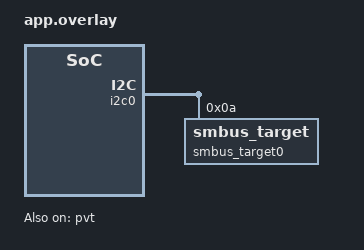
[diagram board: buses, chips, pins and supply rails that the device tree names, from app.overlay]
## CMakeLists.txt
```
# SPDX-License-Identifier: Apache-2.0

cmake_minimum_required(VERSION 3.20.0)
find_package(Zephyr REQUIRED HINTS $ENV{ZEPHYR_BASE})
project(bh_arc)


if(CONFIG_DEVICE_TEST)
    FILE(GLOB app_sources src/vf_curve.c)
else()
    FILE(GLOB app_sources src/*.c)
    list(FILTER app_sources EXCLUDE REGEX "src/vf_curve.c")
endif()
target_sources(app PRIVATE ${app_sources})
target_link_libraries(app PRIVATE bh_fwtable)
target_include_directories(app PRIVATE ../../../../include)
target_include_directories(app PRIVATE ../../../../lib/tenstorrent/bh_arc)
```

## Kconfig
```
# Copyright (c) 2025 Tenstorrent AI ULC
# SPDX-License-Identifier: Apache-2.0

config DEVICE_TEST
	bool "Enable device test"
	default n
	help
	  Enable this option to build the device test application.

source "Kconfig.zephyr"
```

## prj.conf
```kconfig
CONFIG_ZTEST=y

CONFIG_TT_BH_ARC=y
CONFIG_TT_BOOT_FS=y
CONFIG_NANOPB=y

CONFIG_EMUL=y
CONFIG_I2C_EMUL=y
CONFIG_I2C_TARGET=y
CONFIG_SMBUS_TARGET=y
CONFIG_I2C=y
CONFIG_CLOCK_CONTROL=y
CONFIG_CLOCK_CONTROL_EMUL=y

CONFIG_SENSOR=y
CONFIG_SENSOR_ASYNC_API=y

CONFIG_WATCHDOG=y
CONFIG_WDT_TT_BH=y

# Debug configuration
CONFIG_DEBUG=y
CONFIG_DEBUG_OPTIMIZATIONS=y
CONFIG_NO_OPTIMIZATIONS=y
CONFIG_LOG=y
CONFIG_LOG_DEFAULT_LEVEL=4
```

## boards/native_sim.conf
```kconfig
CONFIG_EMUL=y
CONFIG_I2C_EMUL=y
CONFIG_I2C_TARGET=y
```

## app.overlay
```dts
/ {
	fwtable: fwtable {
		compatible = "tenstorrent,bh-fwtable";
		status = "okay";
		flash-dev = <&flashcontroller0>;
	};

	pll0: pll0
	{
		compatible = "tenstorrent,clock-control-emul";
		status = "okay";
	};

	pll4: pll4
	{
		compatible = "tenstorrent,clock-control-emul";
		status = "okay";
	};

	dma1: noc_dma {
		status = "okay";
	};

	pvt: pvt@80030700 {
		compatible = "tenstorrent,bh-pvt";
		reg = <0x80030700 0x4>;
		num_pd = <16>;
		num_vm = <8>;
		num_ts = <8>;
		status = "okay";
	};
};

&i2c0 {
	smbus_target0: smbus@0a {
		status = "okay";
		compatible = "zephyr,smbus_target";
		reg = <0x0a>;
	};
};
```

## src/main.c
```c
/*
 * Copyright (c) 2025 Tenstorrent AI ULC
 *
 * SPDX-License-Identifier: Apache-2.0
 */

#include <zephyr/ztest.h>
#include <math.h>

/*
 * FIXME: need to separate platform-layer (arch) code, kernel-layer (driver) code,
 * and application-layer (library/telemetry) code in bh_arc lib, i.e. separate
 * the information processing from the hardware specifics.
 */
#include "../../../../../lib/tenstorrent/bh_arc/fan_ctrl.c"

extern uint32_t fan_curve(float max_asic_temp, float max_gddr_temp);

ZTEST(bh_arc, test_fan_curve)
{
	/* Test each GDDR temp fan curve step */
	zassert_equal(fan_curve(25, 25), 35);
	zassert_equal(fan_curve(25, 42), 35);
	zassert_equal(fan_curve(25, 46), 40);
	zassert_equal(fan_curve(25, 52), 45);
	zassert_equal(fan_curve(25, 59), 50);
	zassert_equal(fan_curve(25, 64), 55);
	zassert_equal(fan_curve(25, 68), 60);
	zassert_equal(fan_curve(25, 71), 65);
	zassert_equal(fan_curve(25, 74), 70);
	zassert_equal(fan_curve(25, 77), 90);
	zassert_equal(fan_curve(25, 80), 100);

	/* Test each ASIC temp fan curve step */
	zassert_equal(fan_curve(25, 25), 35);
	zassert_equal(fan_curve(46, 25), 35);
	zassert_equal(fan_curve(52, 25), 40);
	zassert_equal(fan_curve(56, 25), 45);
	zassert_equal(fan_curve(60, 25), 50);
	zassert_equal(fan_curve(65, 25), 55);
	zassert_equal(fan_curve(70, 25), 60);
	zassert_equal(fan_curve(74, 25), 65);
	zassert_equal(fan_curve(80, 25), 70);
	zassert_equal(fan_curve(85, 25), 90);
	zassert_equal(fan_curve(92, 25), 100);

	/* Test boundary conditions */
	static const float temps[] = {
		-INFINITY, /* negative-most condition */
		-35,       /* darn cold */
		-1,        /* on the boundary */
		0,         /* inflection point */
		1,         /* on the boundary */
		23,        /* ~room temp */
		50,        /* pretty warm */
		100,       /* hot! */
		300,       /* on fire */
		INFINITY,  /* positive-most condition */
	};

	for (size_t i = 0; i < ARRAY_SIZE(temps); ++i) {
		for (size_t j = 0; j < ARRAY_SIZE(temps); ++j) {
			uint32_t pct = fan_curve(temps[i], temps[j]);

			zassert_true(pct >= 0, "unexpected pct %u for fan_curve(%f, %f)");
			zassert_true(pct <= 100, "unexpected pct %u for fan_curve(%f, %f)");
		}
	}
}

ZTEST_SUITE(bh_arc, NULL, NULL, NULL, NULL, NULL);
```

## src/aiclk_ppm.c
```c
/*
 * Copyright (c) 2025 Tenstorrent AI ULC
 *
 * SPDX-License-Identifier: Apache-2.0
 */

#include <zephyr/ztest.h>

#include "aiclk_ppm.h"
#include <tenstorrent/msgqueue.h>
#include <tenstorrent/smc_msg.h>
static uint32_t fmax;
static uint32_t fmin;

static void *aiclk_ppm_setup(void)
{
	fmax = GetAiclkFmax();
	fmin = GetAiclkFmin();

	zassert_not_equal(fmin, fmax, "Fmin and Fmax values should not be equal");

	return NULL;
}

static void reset_arb(void *fixture)
{
	(void)fixture;

	/* Reset all arbiter values and disable */
	for (int i = 0; i < aiclk_arb_max_count; i++) {
		SetAiclkArbMax(i, fmax);
		EnableArbMax(i, false);
	}
	for (int i = 0; i < aiclk_arb_min_count; i++) {
		SetAiclkArbMin(i, fmin);
		EnableArbMin(i, false);
	}
}

static void set_busy(bool busy)
{
	union request req = {0};
	struct response rsp = {0};

	req.aiclk_set_speed.command_code =
		busy ? TT_SMC_MSG_AICLK_GO_BUSY : TT_SMC_MSG_AICLK_GO_LONG_IDLE;
	msgqueue_request_push(0, &req);
	process_message_queues();
	msgqueue_response_pop(0, &rsp);
	zexpect_equal(rsp.data[0], 0);
}

static void reinit_arb(void *fixture)
{
	(void)fixture;
	for (int i = 0; i < aiclk_arb_max_count; i++) {
		SetAiclkArbMax(i, fmax);
		EnableArbMax(i, true);
	}
	for (int i = 0; i < aiclk_arb_min_count; i++) {
		SetAiclkArbMin(i, fmin);
		EnableArbMin(i, true);
	}

	set_busy(false);
}

ZTEST(aiclk_ppm, test_no_arb_enabled)
{
	uint32_t targ_freq;

	CalculateTargAiclk();
	targ_freq = GetAiclkTarg();

	zassert_equal(
		targ_freq, fmin,
		"Target frequency (%d) should be equal to Fmin (%d) when no arbiters are enabled",
		targ_freq, fmin);
}

ZTEST(aiclk_ppm, test_arb_min_disable_enable)
{
	uint32_t mod_fmin = fmin + 100;
	uint32_t targ_freq;

	/* Increase fmin arbiter */
	/* This should limit target aiclk to modified fmin when arbiter is enabled */
	SetAiclkArbMin(aiclk_arb_min_fmin, mod_fmin);

	EnableArbMin(aiclk_arb_min_fmin, false);

	CalculateTargAiclk();
	targ_freq = GetAiclkTarg();

	zexpect_equal(targ_freq, fmin,
		      "Target frequency (%d) should be equal to Fmin (%d) when "
		      "Fmin arbiter is disabled",
		      targ_freq, fmin);

	EnableArbMin(aiclk_arb_min_fmin, true);

	CalculateTargAiclk();
	targ_freq = GetAiclkTarg();

	zassert_equal(targ_freq, mod_fmin,
		      "Target frequency (%d) should be equal to modified Fmin (%d) when "
		      "arbiter enabled",
		      targ_freq, mod_fmin);
}

ZTEST(aiclk_ppm, test_arb_max_disable_enable)
{
	uint32_t mod_fmax = (fmin + fmax) / 2;
	uint32_t targ_freq;

	/* Set busy arbiter (aiclk_arb_min_busy = fmax [1400]) */
	/* Set fmax arbiter to value in between fmin and fmax [800] */
	/* This should limit target aiclk to modified fmax when both arbiters are enabled */
	set_busy(true);
	SetAiclkArbMax(aiclk_arb_max_fmax, mod_fmax);

	EnableArbMin(aiclk_arb_min_busy, false);
	EnableArbMax(aiclk_arb_max_fmax, false);

	CalculateTargAiclk();
	targ_freq = GetAiclkTarg();

	zexpect_equal(targ_freq, fmin,
		      "Target frequency (%d) should be equal to Fmin (%d) when "
		      "Fmax arbiter and Busy arbiter is disabled",
		      targ_freq, fmin);

	EnableArbMin(aiclk_arb_min_busy, true);
	EnableArbMax(aiclk_arb_max_fmax, true);

	CalculateTargAiclk();
	targ_freq = GetAiclkTarg();

	zassert_equal(targ_freq, mod_fmax,
		      "Target frequency (%d) should be equal to modified Fmax (%d) when "
		      "arbiter enabled",
		      targ_freq, mod_fmax);
}

ZTEST(aiclk_ppm, test_arb_freq_clamping)
{
	uint32_t targ_freq;

	/* Try setting min arbiter above fmax */
	SetAiclkArbMin(aiclk_arb_min_fmin, fmax + 100);
	EnableArbMin(aiclk_arb_min_fmin, true);

	CalculateTargAiclk();
	targ_freq = GetAiclkTarg();

	zexpect_true(targ_freq >= fmin && targ_freq <= fmax,
		     "Target frequency (%d) should be clamped within [%d, %d]", targ_freq, fmin,
		     fmax);

	EnableArbMin(aiclk_arb_min_fmin, false);

	/* Try setting max arbiter below fmin */
	SetAiclkArbMax(aiclk_arb_max_fmax, fmin - 100);
	EnableArbMax(aiclk_arb_max_fmax, true);

	CalculateTargAiclk();
	targ_freq = GetAiclkTarg();

	zassert_true(targ_freq >= fmin && targ_freq <= fmax,
		     "Target frequency (%d) should be clamped within [%d, %d]", targ_freq, fmin,
		     fmax);
}

ZTEST(aiclk_ppm, test_arb_lowest_max)
{
	uint32_t targ_freq;
	uint32_t expected_max;
	enum aiclk_arb_max effective_max_arb;

	/* Set a high min arbiter */

	set_busy(true);
	EnableArbMin(aiclk_arb_min_busy, true);

	/* Set multiple max arbiters to different values */
	SetAiclkArbMax(aiclk_arb_max_fmax, fmax - 100);
	EnableArbMax(aiclk_arb_max_fmax, true);

	SetAiclkArbMax(aiclk_arb_max_tdp, fmax - 200);
	EnableArbMax(aiclk_arb_max_tdp, true);

	SetAiclkArbMax(aiclk_arb_max_thm, fmax - 150);
	EnableArbMax(aiclk_arb_max_thm, true);

	expected_max = fmax - 200;

	CalculateTargAiclk();
	targ_freq = GetAiclkTarg();

	zexpect_equal(expected_max, get_aiclk_effective_arb_max(&effective_max_arb));
	zexpect_equal(aiclk_arb_max_tdp, effective_max_arb,
		      "Expected TDP arbiter (200 MHz reduction) to be effective max");
	zassert_equal(targ_freq, expected_max,
		      "Target frequency (%d) should be equal to lowest max arbiter (%d)", targ_freq,
		      expected_max);
}

ZTEST(aiclk_ppm, test_arb_lowest_max_fractional)
{
	uint32_t targ_freq;
	uint32_t expected_max;
	enum aiclk_arb_max effective_max_arb;

	/* Set a high min arbiter */

	set_busy(true);
	EnableArbMin(aiclk_arb_min_busy, true);

	/* Set multiple max arbiters to different values */
	SetAiclkArbMax(aiclk_arb_max_fmax, fmax - 100);
	EnableArbMax(aiclk_arb_max_fmax, true);

	SetAiclkArbMax(aiclk_arb_max_tdp, fmax - 200.1F);
	EnableArbMax(aiclk_arb_max_tdp, true);

	SetAiclkArbMax(aiclk_arb_max_thm, fmax - 150);
	EnableArbMax(aiclk_arb_max_thm, true);

	expected_max = (uint32_t)((float)fmax - 200.1F);

	CalculateTargAiclk();
	targ_freq = GetAiclkTarg();

	zexpect_equal(expected_max, get_aiclk_effective_arb_max(&effective_max_arb));
	zexpect_equal(aiclk_arb_max_tdp, effective_max_arb,
		      "Expected TDP arbiter (200 MHz reduction) to be effective max");
	zassert_equal(targ_freq, expected_max,
		      "Target frequency (%d) should be equal to lowest max arbiter (%d)", targ_freq,
		      expected_max);
}

ZTEST(aiclk_ppm, test_arb_highest_min)
{
	uint32_t targ_freq;
	uint32_t expected_min;
	enum aiclk_arb_min effective_min_arb;

	/* Set multiple min arbiters to different values */
	SetAiclkArbMin(aiclk_arb_min_fmin, fmin + 100);
	EnableArbMin(aiclk_arb_min_fmin, true);

	SetAiclkArbMin(aiclk_arb_min_busy, fmin + 200);
	EnableArbMin(aiclk_arb_min_busy, true);

	expected_min = fmin + 200;

	CalculateTargAiclk();
	targ_freq = GetAiclkTarg();

	zexpect_equal(expected_min, get_aiclk_effective_arb_min(&effective_min_arb));
	zexpect_equal(aiclk_arb_min_busy, effective_min_arb,
		      "Expected busy arbiter (200 MHz increase) to be effective min");
	zassert_equal(targ_freq, expected_min,
		      "Target frequency (%d) should be equal to highest min arbiter (%d)",
		      targ_freq, expected_min);
}

ZTEST(aiclk_ppm, test_arb_highest_min_fractional)
{
	uint32_t targ_freq;
	uint32_t expected_min;
	enum aiclk_arb_min effective_min_arb;

	/* Set multiple min arbiters to different values */
	SetAiclkArbMin(aiclk_arb_min_fmin, fmin + 100);
	EnableArbMin(aiclk_arb_min_fmin, true);

	SetAiclkArbMin(aiclk_arb_min_busy, fmin + 200.1F);
	EnableArbMin(aiclk_arb_min_busy, true);

	expected_min = (uint32_t)((float)fmin + 200.1F);

	CalculateTargAiclk();
	targ_freq = GetAiclkTarg();

	zexpect_equal(expected_min, get_aiclk_effective_arb_min(&effective_min_arb));
	zexpect_equal(aiclk_arb_min_busy, effective_min_arb,
		      "Expected busy arbiter (200 MHz increase) to be effective min");
	zassert_equal(targ_freq, expected_min,
		      "Target frequency (%d) should be equal to highest min arbiter (%d)",
		      targ_freq, expected_min);
}
ZTEST(aiclk_ppm, test_max_arb_less_than_fmin)
{
	uint32_t targ_freq;

	/* Set fmax arbiter below fmin */
	SetAiclkArbMax(aiclk_arb_max_fmax, fmin - 100);
	EnableArbMax(aiclk_arb_max_fmax, true);

	CalculateTargAiclk();
	targ_freq = GetAiclkTarg();

	zassert_equal(
		targ_freq, fmin,
		"Target frequency (%d) should be equal to Fmin (%d) when max arbiter is below Fmin",
		targ_freq, fmin);
}

ZTEST(aiclk_ppm, test_min_arb_greater_than_max_arb)
{
	uint32_t targ_freq;
	uint32_t min_arb_value = fmax - 100;
	uint32_t max_arb_value = fmin + 100;

	/* Set fmin arbiter above fmax arbiter */
	SetAiclkArbMin(aiclk_arb_min_fmin, min_arb_value);
	EnableArbMin(aiclk_arb_min_fmin, true);

	SetAiclkArbMax(aiclk_arb_max_fmax, max_arb_value);
	EnableArbMax(aiclk_arb_max_fmax, true);

	CalculateTargAiclk();
	targ_freq = GetAiclkTarg();

	zassert_equal(targ_freq, max_arb_value,
		      "Target frequency (%d) should be equal to max arbiter value (%d) when min "
		      "arbiter is above max arbiter",
		      targ_freq, fmin);
}

ZTEST(aiclk_ppm, test_enabled_arb_min_bitmask)
{
	uint32_t bitmask;

	/* Initially all arbiters should be disabled (reset_arb) */
	bitmask = get_enabled_arb_min_bitmask();
	zassert_equal(bitmask, 0, "Bitmask should be 0 when all min arbiters are disabled");

	/* Enable aiclk_arb_min_fmin (bit 0) */
	EnableArbMin(aiclk_arb_min_fmin, true);
	bitmask = get_enabled_arb_min_bitmask();
	zassert_equal(bitmask, (1 << aiclk_arb_min_fmin),
		      "Bitmask should have bit %d set when aiclk_arb_min_fmin is enabled",
		      aiclk_arb_min_fmin);

	/* Enable aiclk_arb_min_busy (bit 1) as well */
	EnableArbMin(aiclk_arb_min_busy, true);
	bitmask = get_enabled_arb_min_bitmask();
	zassert_equal(bitmask, (1 << aiclk_arb_min_fmin) | (1 << aiclk_arb_min_busy),
		      "Bitmask should have bits %d and %d set when both arbiters are enabled",
		      aiclk_arb_min_fmin, aiclk_arb_min_busy);

	/* Disable aiclk_arb_min_fmin, only aiclk_arb_min_busy should be set */
	EnableArbMin(aiclk_arb_min_fmin, false);
	bitmask = get_enabled_arb_min_bitmask();
	zassert_equal(bitmask, (1 << aiclk_arb_min_busy),
		      "Bitmask should have only bit %d set when only aiclk_arb_min_busy is enabled",
		      aiclk_arb_min_busy);

	/* Enable all min arbiters */
	for (int i = 0; i < aiclk_arb_min_count; i++) {
		EnableArbMin(i, true);
	}
	bitmask = get_enabled_arb_min_bitmask();
	uint32_t expected_all = (1 << aiclk_arb_min_count) - 1;

	zassert_equal(
		bitmask, expected_all,
		"Bitmask (0x%x) should have all %d bits set (0x%x) when all arbiters are enabled",
		bitmask, aiclk_arb_min_count, expected_all);
}

ZTEST(aiclk_ppm, test_enabled_arb_max_bitmask)
{
	uint32_t bitmask;

	/* Initially all arbiters should be disabled (reset_arb) */
	bitmask = get_enabled_arb_max_bitmask();
	zassert_equal(bitmask, 0, "Bitmask should be 0 when all max arbiters are disabled");

	/* Enable aiclk_arb_max_fmax (bit 0) */
	EnableArbMax(aiclk_arb_max_fmax, true);
	bitmask = get_enabled_arb_max_bitmask();
	zassert_equal(bitmask, (1 << aiclk_arb_max_fmax),
		      "Bitmask should have bit %d set when aiclk_arb_max_fmax is enabled",
		      aiclk_arb_max_fmax);

	/* Enable aiclk_arb_max_tdp and aiclk_arb_max_thm as well */
	EnableArbMax(aiclk_arb_max_tdp, true);
	EnableArbMax(aiclk_arb_max_thm, true);
	bitmask = get_enabled_arb_max_bitmask();
	uint32_t expected =
		(1 << aiclk_arb_max_fmax) | (1 << aiclk_arb_max_tdp) | (1 << aiclk_arb_max_thm);
	zassert_equal(bitmask, expected,
		      "Bitmask (0x%x) should have bits %d, %d, and %d set (0x%x)", bitmask,
		      aiclk_arb_max_fmax, aiclk_arb_max_tdp, aiclk_arb_max_thm, expected);

	/* Disable aiclk_arb_max_tdp */
	EnableArbMax(aiclk_arb_max_tdp, false);
	bitmask = get_enabled_arb_max_bitmask();
	expected = (1 << aiclk_arb_max_fmax) | (1 << aiclk_arb_max_thm);
	zassert_equal(
		bitmask, expected,
		"Bitmask (0x%x) should have only bits %d and %d set (0x%x) after disabling TDP",
		bitmask, aiclk_arb_max_fmax, aiclk_arb_max_thm, expected);

	/* Enable all max arbiters */
	for (int i = 0; i < aiclk_arb_max_count; i++) {
		EnableArbMax(i, true);
	}
	bitmask = get_enabled_arb_max_bitmask();
	uint32_t expected_all = (1 << aiclk_arb_max_count) - 1;

	zassert_equal(
		bitmask, expected_all,
		"Bitmask (0x%x) should have all %d bits set (0x%x) when all arbiters are enabled",
		bitmask, aiclk_arb_max_count, expected_all);
}

ZTEST(aiclk_ppm, test_arb_bitmask_independent)
{
	uint32_t min_bitmask, max_bitmask;

	/* Enable some min and max arbiters independently and verify they don't interfere */
	EnableArbMin(aiclk_arb_min_fmin, true);
	EnableArbMax(aiclk_arb_max_tdp, true);
	EnableArbMax(aiclk_arb_max_thm, true);

	min_bitmask = get_enabled_arb_min_bitmask();
	max_bitmask = get_enabled_arb_max_bitmask();

	zassert_equal(min_bitmask, (1 << aiclk_arb_min_fmin),
		      "Min bitmask should only reflect min arbiters");
	zassert_equal(max_bitmask, (1 << aiclk_arb_max_tdp) | (1 << aiclk_arb_max_thm),
		      "Max bitmask should only reflect max arbiters");
}

static void send_set_host_fmax(uint32_t freq, uint8_t restore_default, uint8_t *status_out)
{
	union request req = {0};
	struct response rsp = {0};

	req.set_asic_host_fmax.command_code = TT_SMC_MSG_SET_ASIC_HOST_FMAX;
	req.set_asic_host_fmax.asic_fmax = freq;
	req.set_asic_host_fmax.restore_default = restore_default;
	msgqueue_request_push(0, &req);
	process_message_queues();
	msgqueue_response_pop(0, &rsp);
	if (status_out != NULL) {
		*status_out = rsp.data[0];
	}
}

ZTEST(aiclk_ppm, test_set_host_fmax_valid)
{
	uint8_t status;
	uint32_t new_fmax = 1000; /* MHz, within [AICLK_FMAX_MIN, AICLK_FMAX_MAX] */
	enum aiclk_arb_max effective_arb;
	uint32_t effective_max;

	send_set_host_fmax(new_fmax, 0, &status);
	zassert_equal(status, 0, "Expected success for valid fmax");

	effective_max = get_aiclk_effective_arb_max(&effective_arb);
	zassert_equal(effective_max, new_fmax,
		      "Effective arb max (%d) should reflect new host fmax (%d)", effective_max,
		      new_fmax);
	zassert_equal(effective_arb, aiclk_arb_max_host_fmax,
		      "Effective arbiter should be aiclk_arb_max_host_fmax");
}

ZTEST(aiclk_ppm, test_set_host_fmax_restore_default)
{
	uint8_t status;
	uint32_t bitmask;

	/* First set a host fmax limit */
	send_set_host_fmax(1000, 0, &status);
	zassert_equal(status, 0);

	/* Then restore to default */
	send_set_host_fmax(0, 1, &status);
	zassert_equal(status, 0, "Expected success for restore_default");

	/* Verify the host fmax arbiter is disabled */
	bitmask = get_enabled_arb_max_bitmask();
	zassert_equal(bitmask & (1 << aiclk_arb_max_host_fmax), 0,
		      "host fmax arbiter should be disabled after restore_default");
}

ZTEST(aiclk_ppm, test_set_host_fmax_out_of_range_high)
{
	uint8_t status;

	send_set_host_fmax(9999, 0, &status);
	zassert_not_equal(status, 0, "Expected error for out-of-range fmax (too high)");
}

ZTEST(aiclk_ppm, test_set_host_fmax_out_of_range_low)
{
	uint8_t status;

	send_set_host_fmax(100, 0, &status);
	zassert_not_equal(status, 0, "Expected error for out-of-range fmax (too low)");
}

ZTEST(aiclk_ppm, test_msg_type_force_aiclk)
{
	union request req = {0};
	struct response rsp = {0};

	req.force_aiclk.command_code = TT_SMC_MSG_FORCE_AICLK;
	req.force_aiclk.forced_freq = 1000;

	msgqueue_request_push(0, &req);
	process_message_queues();
	msgqueue_response_pop(0, &rsp);

	zassert_equal(rsp.data[0], 0);

	/* Disable forcing */
	req = (union request){0};
	rsp = (struct response){0};

	req.force_aiclk.command_code = TT_SMC_MSG_FORCE_AICLK;
	req.force_aiclk.forced_freq = 0;

	msgqueue_request_push(0, &req);
	process_message_queues();
	msgqueue_response_pop(0, &rsp);

	zassert_equal(rsp.data[0], 0);
}

ZTEST(aiclk_ppm, test_msg_type_get_aiclk)
{
	union request req = {0};
	struct response rsp = {0};

	req.get_aiclk.command_code = TT_SMC_MSG_GET_AICLK;

	msgqueue_request_push(0, &req);
	process_message_queues();
	msgqueue_response_pop(0, &rsp);

	zassert_equal(rsp.data[0], 0);
	/* data[1] = current AICLK, data[2] = clock mode; just verify non-failure */
	zassert_true(rsp.data[2] >= 1 && rsp.data[2] <= 3, "Clock mode (%d) should be 1, 2, or 3",
		     rsp.data[2]);
}

ZTEST(aiclk_ppm, test_msg_type_aisweep_start_stop)
{
	union request req = {0};
	struct response rsp = {0};

	/* Start sweep with valid range */
	req.aisweep.command_code = TT_SMC_MSG_AISWEEP_START;
	req.aisweep.sweep_low = fmin;
	req.aisweep.sweep_high = fmax;

	msgqueue_request_push(0, &req);
	process_message_queues();
	msgqueue_response_pop(0, &rsp);

	zassert_equal(rsp.data[0], 0);

	/* Stop sweep */
	req = (union request){0};
	rsp = (struct response){0};

	req.aisweep.command_code = TT_SMC_MSG_AISWEEP_STOP;

	msgqueue_request_push(0, &req);
	process_message_queues();
	msgqueue_response_pop(0, &rsp);

	zassert_equal(rsp.data[0], 0);
}

ZTEST_SUITE(aiclk_ppm, NULL, aiclk_ppm_setup, reset_arb, NULL, reinit_arb);
```

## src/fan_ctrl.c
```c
/*
 * Copyright (c) 2025 Tenstorrent AI ULC
 *
 * SPDX-License-Identifier: Apache-2.0
 */

#include <math.h>

#include <zephyr/ztest.h>

extern uint32_t fan_curve(float max_asic_temp, float max_gddr_temp);

ZTEST(fan_ctrl, test_fan_curve)
{
	/* Test GDDR temp fan curve steps */
	zassert_equal(fan_curve(25, 25), 35);
	zassert_equal(fan_curve(25, 30), 35);
	zassert_equal(fan_curve(25, 35), 35);
	zassert_equal(fan_curve(25, 40), 35);
	zassert_equal(fan_curve(25, 45), 35);
	zassert_equal(fan_curve(25, 50), 37);
	zassert_equal(fan_curve(25, 55), 41);
	zassert_equal(fan_curve(25, 60), 47);
	zassert_equal(fan_curve(25, 65), 55);
	zassert_equal(fan_curve(25, 70), 66);
	zassert_equal(fan_curve(25, 75), 78);
	zassert_equal(fan_curve(25, 80), 93);
	zassert_equal(fan_curve(25, 85), 100);
	zassert_equal(fan_curve(25, 90), 100);

	/* Test ASIC temp fan curve steps */
	zassert_equal(fan_curve(25, 25), 35);
	zassert_equal(fan_curve(30, 25), 35);
	zassert_equal(fan_curve(35, 25), 35);
	zassert_equal(fan_curve(40, 25), 35);
	zassert_equal(fan_curve(45, 25), 35);
	zassert_equal(fan_curve(50, 25), 35);
	zassert_equal(fan_curve(55, 25), 36);
	zassert_equal(fan_curve(60, 25), 39);
	zassert_equal(fan_curve(65, 25), 44);
	zassert_equal(fan_curve(70, 25), 52);
	zassert_equal(fan_curve(75, 25), 61);
	zassert_equal(fan_curve(80, 25), 72);
	zassert_equal(fan_curve(85, 25), 85);
	zassert_equal(fan_curve(90, 25), 100);

	/* Test boundary conditions */
	static const float temps[] = {
		-INFINITY, /* negative-most condition */
		-35,       /* darn cold */
		-1,        /* on the boundary */
		0,         /* inflection point */
		1,         /* on the boundary */
		23,        /* ~room temp */
		50,        /* pretty warm */
		100,       /* hot! */
		300,       /* on fire */
		INFINITY,  /* positive-most condition */
	};

	for (size_t i = 0; i < ARRAY_SIZE(temps); ++i) {
		for (size_t j = 0; j < ARRAY_SIZE(temps); ++j) {
			uint32_t pct = fan_curve(temps[i], temps[j]);

			zassert_true(pct >= 0, "unexpected pct %u for fan_curve(%f, %f)");
			zassert_true(pct <= 100, "unexpected pct %u for fan_curve(%f, %f)");
		}
	}
}

ZTEST_SUITE(fan_ctrl, NULL, NULL, NULL, NULL, NULL);
```

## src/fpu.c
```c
/*
 * Copyright (c) 2024 Tenstorrent AI ULC
 *
 * SPDX-License-Identifier: Apache-2.0
 */

#include <float.h>

#include <zephyr/ztest.h>
#include <zephyr/kernel.h>
#include <zephyr/arch/arc/v2/aux_regs.h>

/* Verify that FPU state is saved & restored across thread switches.
 * The only FPU-specific state (for our HW config) are ARC auxiliary registers FPU_STATUS and
 * FPU_CTRL.
 */

/* picolib is compiled for soft float so it doesn't use FPU_STATUS or FPU_CTRL.
 * Instead we need custom functions.
 */

#define ARC_ROUNDING_MASK GENMASK(9, 8)

#define ARC_FE_TONEAREST  (1 << 8)
#define ARC_FE_DOWNWARD   (3 << 8)
#define ARC_FE_UPWARD     (2 << 8)
#define ARC_FE_TOWARDZERO (0 << 8)

int arc_fesetround(int round)
{
	uint32_t fpu_ctrl = z_arc_v2_aux_reg_read(_ARC_V2_FPU_CTRL);

	fpu_ctrl &= ~ARC_ROUNDING_MASK;
	fpu_ctrl |= round;

	z_arc_v2_aux_reg_write(_ARC_V2_FPU_CTRL, fpu_ctrl);
	return 0;
}

int arc_fegetround(void)
{
	uint32_t fpu_ctrl = z_arc_v2_aux_reg_read(_ARC_V2_FPU_CTRL);

	return FIELD_GET(ARC_ROUNDING_MASK, fpu_ctrl);
}

#define ARC_FE_INVALID   BIT(0)
#define ARC_FE_DIVBYZERO BIT(1)
#define ARC_FE_OVERFLOW  BIT(2)
#define ARC_FE_UNDERFLOW BIT(3)
#define ARC_FE_INEXACT   BIT(4)

#define ARC_FE_ALL_EXCEPT                                                                          \
	ARC_FE_DIVBYZERO | ARC_FE_INEXACT | ARC_FE_INVALID | ARC_FE_OVERFLOW | ARC_FE_UNDERFLOW

#define ARC_FPU_STATUS_CLEAR_BIT_SHIFT 8

int arc_feclearexcept(int excepts)
{
	/* write-1-to-clear bits for each exception condition at bits 8-12
	 * (when write enable is clear).
	 */
	z_arc_v2_aux_reg_write(_ARC_V2_FPU_STATUS, excepts << ARC_FPU_STATUS_CLEAR_BIT_SHIFT);
	return 0;
}

int arc_fetestexcept(int excepts)
{
	uint32_t fpu_status = z_arc_v2_aux_reg_read(_ARC_V2_FPU_STATUS);

	return fpu_status & excepts;
}

static void set_upward_and_overflow(struct k_work *work)
{
	ARG_UNUSED(work);

	arc_fesetround(ARC_FE_UPWARD);

	volatile float a = FLT_MAX;
	volatile float b = a * a; /* overflow exception */

	ARG_UNUSED(b);
}
static K_WORK_DEFINE(set_upward_and_overflow_work, set_upward_and_overflow);

static void check_upward_and_overflow(struct k_work *work)
{
	ARG_UNUSED(work);

	zassert_equal(arc_fetestexcept(ARC_FE_ALL_EXCEPT), ARC_FE_OVERFLOW);

	volatile float a = 1.0f;
	volatile float b = 3.0f;
	volatile float c = a / b;

	zassert_equal(c, 0.3333333432674407958984375f);
}
static K_WORK_DEFINE(check_upward_and_overflow_work, check_upward_and_overflow);

static struct k_work_sync work_sync;

ZTEST(fpu, test_fpu_state_saving)
{
	/* Assume we're running on main. Verifying that main already has FPU state saving
	 * enabled is part of the test.
	 */

	arc_fesetround(ARC_FE_DOWNWARD);
	arc_feclearexcept(ARC_FE_ALL_EXCEPT);

	volatile float a = 1.0f;
	volatile float b = 0.0f;
	volatile float c = a / b; /* divide by zero exception */

	ARG_UNUSED(c);

	/* run work item to change rounding mode to UPWARD and change exceptions to OVERFLOW */
	k_work_submit(&set_upward_and_overflow_work);
	k_work_flush(&set_upward_and_overflow_work, &work_sync);

	/* verify only divide-by-zero exception is set */
	zassert_equal(arc_fetestexcept(ARC_FE_ALL_EXCEPT), ARC_FE_DIVBYZERO);

	/* verify rounding is still downward */
	volatile float d = 1.0f;
	volatile float e = 3.0f;
	volatile float f = d / e;

	zassert_equal(f, 0.333333313465118408203125f);

	/* run work item to verify rounding mode is still UPWARD and OVERFLOW is still flagged */
	k_work_submit(&check_upward_and_overflow_work);
	k_work_flush(&check_upward_and_overflow_work, &work_sync);

	/* cleanup */
	arc_fesetround(ARC_FE_TONEAREST);
	arc_feclearexcept(ARC_FE_ALL_EXCEPT);
}

ZTEST_SUITE(fpu, NULL, NULL, NULL, NULL, NULL);
```

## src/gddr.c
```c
/*
 * Copyright (c) 2024 Tenstorrent AI ULC
 *
 * SPDX-License-Identifier: Apache-2.0
 */

#include <zephyr/ztest.h>
#include <zephyr/fff.h>

#include <zephyr/drivers/i2c.h>

#include "gddr.h"
#include "noc2axi.h"
#include "reg_mock.h"
static const uint32_t mrisc_tlb = 13U;
static const uint32_t mrisc_msg_reg = ARC_NOC0_BASE_ADDR + (mrisc_tlb << NOC_TLB_LOG_SIZE) +
				      (MRISC_MSG_REGISTER & NOC_TLB_WINDOW_ADDR_MASK);

static uint32_t num_mrisc_msgs;
static uint32_t mrisc_msgs[NUM_GDDR];
uint32_t read_reg_fake_mrisc_busy(uint32_t addr)
{
	if (addr == mrisc_msg_reg) {
		return MRISC_MSG_TYPE_PHY_POWERDOWN;
	}

	return 0;
}

uint32_t read_reg_fake_mrisc_timed_out(uint32_t addr)
{
	if (addr == mrisc_msg_reg) {
		static uint32_t mrisc_msg_read_call_count;

		if (mrisc_msg_read_call_count < NUM_GDDR) {
			mrisc_msg_read_call_count++;
		} else {
			z_impl_sys_clock_tick_set(100);
			return MRISC_MSG_TYPE_PHY_POWERDOWN;
		}
	}

	return 0;
}

void write_reg_fake_count_mrisc_msgs(uint32_t addr, uint32_t value)
{
	if (addr == mrisc_msg_reg) {
		if (num_mrisc_msgs < NUM_GDDR) {
			mrisc_msgs[num_mrisc_msgs] = value;
		}
		num_mrisc_msgs++;
	}
}

ZTEST(gddr, test_mrisc_busy_failed)
{
	ReadReg_fake.custom_fake = read_reg_fake_mrisc_busy;
	int32_t ret = set_mrisc_power_setting(true);

	zassert_equal(ret, -EBUSY);
}

ZTEST(gddr, test_mrisc_timed_out)
{
	ReadReg_fake.custom_fake = read_reg_fake_mrisc_timed_out;
	int32_t ret = set_mrisc_power_setting(true);

	zassert_equal(ret, -ETIMEDOUT);
}

ZTEST(gddr, test_mrisc_power_on)
{
	WriteReg_fake.custom_fake = write_reg_fake_count_mrisc_msgs;
	int32_t ret = set_mrisc_power_setting(true);

	zexpect_equal(ret, 0);
	zexpect_equal(num_mrisc_msgs, NUM_GDDR);

	for (uint8_t i = 0U; i < NUM_GDDR; i++) {
		zexpect_equal(mrisc_msgs[i], MRISC_MSG_TYPE_PHY_WAKEUP);
	}
	num_mrisc_msgs = 0U;
}

ZTEST(gddr, test_mrisc_power_off)
{
	WriteReg_fake.custom_fake = write_reg_fake_count_mrisc_msgs;
	int32_t ret = set_mrisc_power_setting(false);

	zexpect_equal(ret, 0);
	zexpect_equal(num_mrisc_msgs, NUM_GDDR);

	for (uint8_t i = 0U; i < NUM_GDDR; i++) {
		zexpect_equal(mrisc_msgs[i], MRISC_MSG_TYPE_PHY_POWERDOWN);
	}
	num_mrisc_msgs = 0U;
}

ZTEST_SUITE(gddr, NULL, NULL, NULL, NULL, NULL);
```

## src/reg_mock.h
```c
/*
 * Copyright (c) 2025 Tenstorrent AI ULC
 *
 * SPDX-License-Identifier: Apache-2.0
 */

#ifndef REG_MOCK_H
#define REG_MOCK_H
#include <zephyr/fff.h>
#include <stdint.h>

DECLARE_FAKE_VALUE_FUNC(uint32_t, ReadReg, uint32_t /*addr*/);
DECLARE_FAKE_VOID_FUNC(WriteReg, uint32_t /*addr*/, uint32_t /*val*/);
#endif /*REG_MOCK_H*/
```

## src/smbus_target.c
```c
/*
 * Copyright (c) 2025 Tenstorrent AI ULC
 *
 * SPDX-License-Identifier: Apache-2.0
 */

#include <zephyr/ztest.h>
#include <zephyr/drivers/i2c.h>
#include <zephyr/fff.h>
#include <tenstorrent/tt_smbus_regs.h>
#include <zephyr/drivers/i2c.h>
#include "reg_mock.h"
#include "asic_state.h"
#include "telemetry.h"
#include "status_reg.h"
#include "cm2dm_msg.h"

static const struct device *const i2c0_dev = DEVICE_DT_GET_OR_NULL(DT_NODELABEL(i2c0));
static const uint8_t tt_i2c_addr = 0xA;
static void tear_down_tc(void *fixture)
{

	(void)fixture;

	static const struct device *const smbus_target_dev =
		DEVICE_DT_GET_OR_NULL(DT_NODELABEL(smbus_target0));

	/*Whiteboxing this isn't great */
	struct i2c_target_config *smbus_target_cfg =
		(struct i2c_target_config *)smbus_target_dev->data;

	smbus_target_cfg->callbacks->stop(smbus_target_cfg);
}

ZTEST(smbus_target, test_write_received_bad_cmd_0)
{
	/* 0 is not a valid command */
	uint8_t write_data[] = {0U};

	zassert_equal(-1, i2c_write(i2c0_dev, write_data, sizeof(write_data), tt_i2c_addr));
}

ZTEST(smbus_target, test_write_received_bad_cmd_255)
{
	/* 255 is not a valid command */
	uint8_t write_data[] = {255U};

	zassert_equal(-1, i2c_write(i2c0_dev, write_data, sizeof(write_data), tt_i2c_addr));
}

ZTEST(smbus_target, test_write_received_bad_cmd_msg_max)
{
	uint8_t write_data[] = {CMFW_SMBUS_MSG_MAX};

	/* 255 is not a valid command */
	zassert_equal(-1, i2c_write(i2c0_dev, write_data, sizeof(write_data), tt_i2c_addr));
}

ZTEST(smbus_target, test_write_received_cmd_before_stop)
{
	uint8_t write_data[] = {0, CMFW_SMBUS_MSG_MAX};

	/* starting a valid command before stopping the invalid command should fail */
	zassert_equal(-1, i2c_write(i2c0_dev, write_data, sizeof(write_data), tt_i2c_addr));
}

ZTEST(smbus_target, test_unsolicited_read_received)
{
	uint8_t read_data[1];

	/* We always need to get a command to process first. */
	zassert_equal(-1, i2c_read(i2c0_dev, read_data, sizeof(read_data), tt_i2c_addr));
	zexpect_equal(0xFF, read_data[0]);
}

ZTEST(smbus_target, test_write_received_bad_blocksize)
{
	uint8_t write_data[] = {CMFW_SMBUS_TEST_WRITE_BLOCK, 5U, 0xAA, 0xBB, 0xCC, 0xDD, 0xEE, 54U};

	/* WRITE_BLOCK is a valid command */
	zassert_equal(-1, i2c_write(i2c0_dev, write_data, sizeof(write_data), tt_i2c_addr));
}

ZTEST(smbus_target, test_write_received_data_for_read_cmd)
{
	/* TEST_READ is a valid command but expects the user to write no additional data */
	uint8_t write_data[] = {CMFW_SMBUS_TEST_READ, 10U};

	zassert_equal(-1, i2c_write(i2c0_dev, write_data, sizeof(write_data), tt_i2c_addr));
}

ZTEST(smbus_target, test_write_rx_rqst_for_write_cmd)
{
	uint8_t write_data[] = {CMFW_SMBUS_TEST_WRITE_BLOCK, 4U};
	uint8_t read_data[1];
	/* TEST_WRITE_BLOCK is a valid command but expects data to be written, not read */
	zassert_equal(-1, i2c_write_read(i2c0_dev, tt_i2c_addr, write_data, sizeof(write_data),
					 read_data, sizeof(read_data)));
	zexpect_equal(0xFF, read_data[0]);
}

ZTEST(smbus_target, test_read_byte_test)
{
	uint8_t write_data[] = {CMFW_SMBUS_TEST_READ};
	uint8_t read_data[2];

	ReadReg_fake.return_val = 0x5AU;
	/* The value received by var should match what the fake stored */
	zassert_equal(0, i2c_write_read(i2c0_dev, tt_i2c_addr, write_data, sizeof(write_data),
					read_data, sizeof(read_data)));
	zexpect_equal(0x5AU, read_data[0]);
}

ZTEST(smbus_target, test_read_word_test)
{
	uint8_t write_data[] = {CMFW_SMBUS_TEST_READ_WORD};
	uint8_t read_data[3];

	ReadReg_fake.return_val = 0x915AU;

	/* The value received by var should match what the fake stored */
	zassert_equal(0, i2c_write_read(i2c0_dev, tt_i2c_addr, write_data, sizeof(write_data),
					read_data, sizeof(read_data)));
	zexpect_equal(0x5AU, read_data[0]);
	zexpect_equal(0x91U, read_data[1]);
}

ZTEST(smbus_target, test_read_block_test)
{
	uint8_t write_data[] = {CMFW_SMBUS_TEST_READ_BLOCK};
	uint8_t read_data[6];

	ReadReg_fake.return_val = 0x8765915AU;
	/* The value received by var should match what the fake stored */
	zassert_equal(0, i2c_write_read(i2c0_dev, tt_i2c_addr, write_data, sizeof(write_data),
					read_data, sizeof(read_data)));
	zexpect_equal(4U, read_data[0]);
	zexpect_equal(0x5AU, read_data[1]);
	zexpect_equal(0x91U, read_data[2]);
	zexpect_equal(0x65U, read_data[3]);
	zexpect_equal(0x87U, read_data[4]);
}

ZTEST(smbus_target, test_write_byte_test)
{
	uint8_t write_data[] = {CMFW_SMBUS_TEST_WRITE, 0x5BU, 136U};
	uint8_t set_count = 0U;

	zassert_equal(0, i2c_write(i2c0_dev, write_data, sizeof(write_data), tt_i2c_addr));
	for (uint8_t i = 0U; i < WriteReg_fake.call_count; i++) {
		if (WriteReg_fake.arg0_history[i] == STATUS_FW_SCRATCH_REG_ADDR) {
			zassert_equal(WriteReg_fake.arg1_history[i], (1 << 16U) | 0x5BU);
			set_count++;
		}
	}
	zexpect_equal(1U, set_count);
}

ZTEST(smbus_target, test_write_word_test)
{
	uint8_t write_data[] = {CMFW_SMBUS_TEST_WRITE_WORD, 0x5BU, 0x2AU, 177U};
	uint8_t set_count = 0U;

	zassert_equal(0, i2c_write(i2c0_dev, write_data, sizeof(write_data), tt_i2c_addr));

	for (uint8_t i = 0U; i < WriteReg_fake.call_count; i++) {
		if (WriteReg_fake.arg0_history[i] == STATUS_FW_SCRATCH_REG_ADDR) {
			zexpect_equal(WriteReg_fake.arg1_history[i], (2 << 16U) | 0x2A5BU);
			set_count++;
		}
	}
	zexpect_equal(1U, set_count);
}

ZTEST(smbus_target, test_write_block_test)
{
	uint8_t write_data[] = {CMFW_SMBUS_TEST_WRITE_BLOCK, 0x4, 0x5BU, 0x2AU, 0x13U, 0x99U, 243U};
	uint8_t set_count = 0U;

	zassert_equal(0, i2c_write(i2c0_dev, write_data, sizeof(write_data), tt_i2c_addr));

	for (uint8_t i = 0U; i < WriteReg_fake.call_count; i++) {
		if (WriteReg_fake.arg0_history[i] == STATUS_FW_SCRATCH_REG_ADDR) {
			zexpect_equal(WriteReg_fake.arg1_history[i], 0x99132A5BU);
			set_count++;
		}
	}
	zexpect_equal(1U, set_count);
}

ZTEST(smbus_target, test_update_arc_test_state_3)
{
	uint8_t write_data[] = {CMFW_SMBUS_UPDATE_ARC_STATE, 0x3, 0x3U, 0xDEU, 0xAFU};

	zassert_equal(0, i2c_write(i2c0_dev, write_data, sizeof(write_data), tt_i2c_addr));
	zassert_equal(A3State, get_asic_state());
}

ZTEST(smbus_target, test_update_arc_test_state_0)
{
	uint8_t write_data[] = {CMFW_SMBUS_UPDATE_ARC_STATE, 0x3, 0x0U, 0xDEU, 0xAFU};

	zassert_equal(0, i2c_write(i2c0_dev, write_data, sizeof(write_data), tt_i2c_addr));
	zassert_equal(A0State, get_asic_state());
}

ZTEST(smbus_target, test_telem_read_bad_w_blocksize)
{
	uint8_t write_data[] = {CMFW_SMBUS_TELEMETRY_READ, 0x3, 0xAA, 0xBB, 0xCC};

	zassert_equal(-1, i2c_write(i2c0_dev, write_data, sizeof(write_data), tt_i2c_addr));
}

ZTEST(smbus_target, test_telem_read)
{
	uint8_t write_data[] = {CMFW_SMBUS_TELEMETRY_READ, 0x1U, TAG_AICLK};
	uint8_t read_data[8];

	zassert_equal(0, i2c_write_read(i2c0_dev, tt_i2c_addr, write_data, sizeof(write_data),
					read_data, sizeof(read_data)));
	zexpect_equal(7U, read_data[0]);
	zexpect_equal(0U, read_data[1]);
	/* bytes 2-3 are DC. Bytes 4-7 are telem data but currently aren't emulated */
}

ZTEST(smbus_target, test_telem_write_no_reset)
{
	uint8_t write_data[35] = {[0] = CMFW_SMBUS_TELEMETRY_WRITE, [1] = 33U};
	uint8_t read_data[21];

	zassert_equal(0, i2c_write_read(i2c0_dev, tt_i2c_addr, write_data, sizeof(write_data),
					read_data, sizeof(read_data)));
	zexpect_equal(20U, read_data[0]);

	uint32_t ctl = 0;

	(void)memcpy(&ctl, &read_data[12], sizeof(ctl));
	zexpect_equal(0U, ctl);
}

ZTEST(smbus_target, test_block_write_block_read_with_pec)
{
	uint8_t write_data[] = {0xDE, 4, 0xde, 0xad, 0xbe, 0xef};
	uint8_t read_data[6];

	zassert_equal(0, i2c_write_read(i2c0_dev, tt_i2c_addr, write_data, sizeof(write_data),
					read_data, sizeof(read_data)));
	zexpect_equal(4, read_data[0]);
}

ZTEST_SUITE(smbus_target, NULL, NULL, NULL, tear_down_tc, NULL);
```

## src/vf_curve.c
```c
/*
 * Copyright (c) 2025 Tenstorrent AI ULC
 *
 * SPDX-License-Identifier: Apache-2.0
 */

#include <zephyr/ztest.h>
#include <tenstorrent/smc_msg.h>
#include <tenstorrent/msgqueue.h>
#include <stdlib.h>

ZTEST(vf_curve, test_get_freq_curve_from_voltage_handler)
{
	union request req = {0};
	struct response rsp = {0};

	/* Test with voltage 800mV -> should get frequency */
	req.data[0] = TT_SMC_MSG_GET_FREQ_CURVE_FROM_VOLTAGE;
	req.data[1] = 800; /* voltage in mV */
	msgqueue_request_push(0, &req);

	process_message_queues();
	msgqueue_response_pop(0, &rsp);

	/* Verify we get a reasonable frequency value */
	zassert_true(rsp.data[1] > 0, "Expected positive frequency");
	zassert_true(rsp.data[1] < 5000, "Expected reasonable frequency range");
}

ZTEST(vf_curve, test_get_voltage_curve_from_freq_handler)
{
	union request req = {0};
	struct response rsp = {0};

	/* Test with frequency 1000MHz -> should get voltage */
	req.data[0] = TT_SMC_MSG_GET_VOLTAGE_CURVE_FROM_FREQ;
	req.data[1] = 1000; /* frequency in MHz */
	msgqueue_request_push(0, &req);

	process_message_queues();
	msgqueue_response_pop(0, &rsp);

	/* Verify we get a reasonable voltage value */
	zassert_true(rsp.data[1] > 500, "Expected voltage > 500mV");
	zassert_true(rsp.data[1] < 1200, "Expected voltage < 1200mV");
}

ZTEST(vf_curve, test_voltage_frequency_roundtrip)
{
	union request req = {0};
	struct response rsp = {0};
	uint32_t original_freq = 1000; /* MHz */
	uint32_t calculated_voltage;
	uint32_t calculated_freq;

	/* First: Convert frequency to voltage */
	req.data[0] = TT_SMC_MSG_GET_VOLTAGE_CURVE_FROM_FREQ;
	req.data[1] = original_freq;

	msgqueue_request_push(0, &req);
	process_message_queues();
	msgqueue_response_pop(0, &rsp);

	calculated_voltage = rsp.data[1];

	/* Second: Convert voltage back to frequency */
	req.data[0] = TT_SMC_MSG_GET_FREQ_CURVE_FROM_VOLTAGE;
	req.data[1] = calculated_voltage;

	msgqueue_request_push(0, &req);
	process_message_queues();
	msgqueue_response_pop(0, &rsp);

	calculated_freq = rsp.data[1];

	/* Verify roundtrip accuracy (allow small error due to integer conversion) */
	int32_t freq_diff = (int32_t)calculated_freq - (int32_t)original_freq;

	zassert_true(abs(freq_diff) < 50, "Roundtrip frequency error too large: %d", freq_diff);
}

ZTEST_SUITE(vf_curve, NULL, NULL, NULL, NULL, NULL);
```
